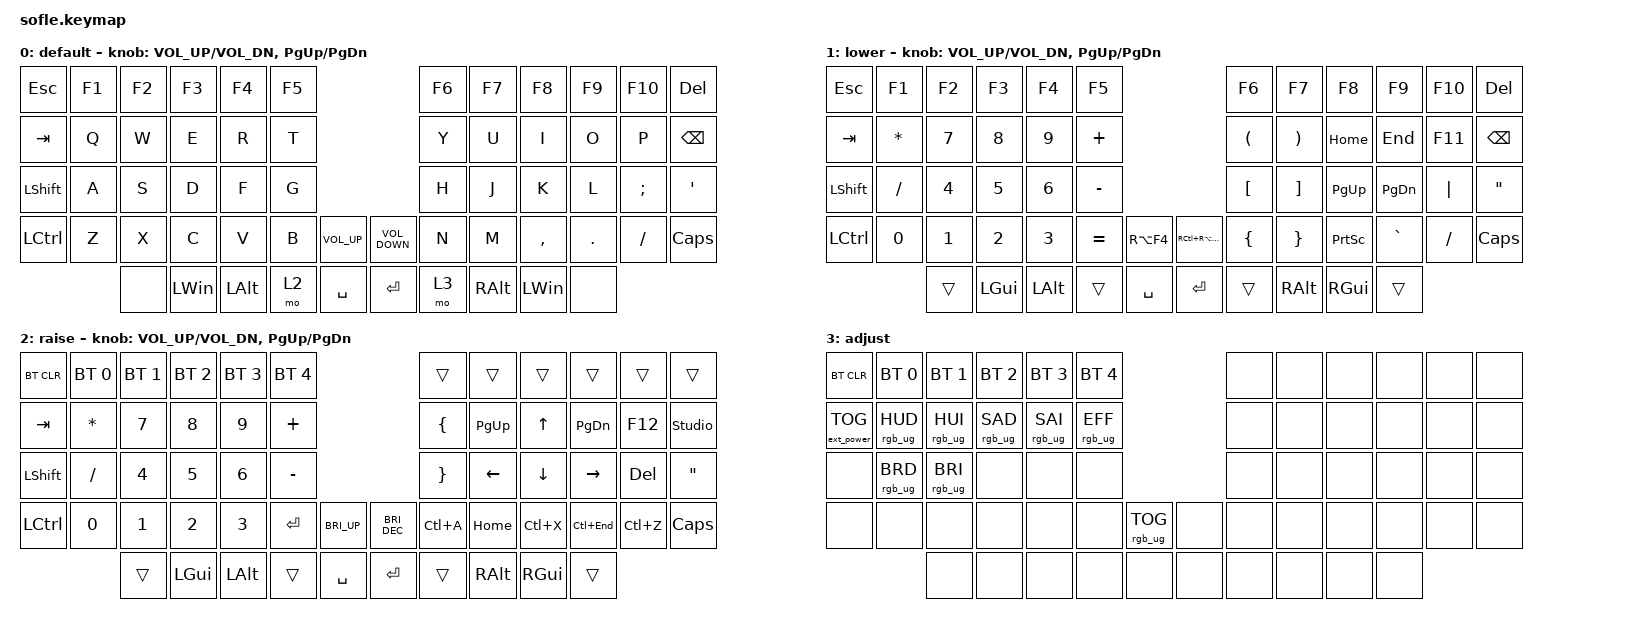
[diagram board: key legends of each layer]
/*
 * Copyright (c) 2020 The ZMK Contributors
 *
 * SPDX-License-Identifier: MIT
 */

#include <behaviors.dtsi>
#include <dt-bindings/zmk/bt.h>
#include <dt-bindings/zmk/ext_power.h>
#include <dt-bindings/zmk/keys.h>
#include <dt-bindings/zmk/rgb.h>

#define BASE 0
#define LOWER 1
#define RAISE 2
#define ADJUST 3

/ {
    // Activate ADJUST layer by pressing raise and lower

    conditional_layers {
        compatible = "zmk,conditional-layers";

        adjust_layer {
            if-layers = <2 3>;
            then-layer = <3>;
        };
    };

    keymap {
        compatible = "zmk,keymap";

        default_layer {
            label = "default";

            // ------------------------------------------------------------------------------------------------------------
            // |  ESC  |  F1 |  F2 |  F3  |  F4  |  F5  |                   |  F6  |  F7   |  F8   |  F9  |  F10  | DELETE|
            // |  TAB  |  Q  |  W  |  E   |  R   |  T   |                   |  Y   |  U    |  I    |  O   |   P   | BKSPC |
            // | SHIFT |  A  |  S  |  D   |  F   |  G   |                   |  H   |  J    |  K    |  L   |   ;   |   '   |
            // |  CTRL |  Z  |  X  |  C   |  V   |  B   |  MUTE  |  |       |  N   |  M    |  ,    |  .   |   /   | SHIFT |
            //               |     | GUI  | ALT  | LOWER|  SPACE |  | ENTER | RAISE|  ALT  | GUI   |      |

            bindings = <
&kp ESCAPE        &kp F1  &kp F2  &kp F3        &kp F4        &kp F5                                        &kp F6  &kp F7         &kp F8        &kp F9   &kp F10   &kp DELETE
&kp TAB           &kp Q   &kp W   &kp E         &kp R         &kp T                                         &kp Y   &kp U          &kp I         &kp O    &kp P     &kp BSPC
&kp LEFT_SHIFT    &kp A   &kp S   &kp D         &kp F         &kp G                                         &kp H   &kp J          &kp K         &kp L    &kp SEMI  &kp SQT
&kp LEFT_CONTROL  &kp Z   &kp X   &kp C         &kp V         &kp B   &kp C_VOLUME_UP    &kp C_VOLUME_DOWN  &kp N   &kp M          &kp COMMA     &kp DOT  &kp FSLH  &kp CAPS
                          &none   &kp LEFT_WIN  &kp LEFT_ALT  &mo 2   &kp SPACE          &kp ENTER          &mo 3   &kp RIGHT_ALT  &kp LEFT_WIN  &none
            >;

            sensor-bindings = <&inc_dec_kp C_VOL_UP C_VOL_DN &inc_dec_kp PG_UP PG_DN>;
        };

        lower_layer {
            label = "lower";

            // TODO: Some binds are waiting for shifted keycode support.
            // ------------------------------------------------------------------------------------------------------------
            // |       |  F1 |  F2 |  F3  |  F4  |  F5  |                   |  F6  |  F7   |  F8   |  F9  |  F10  |  F11  |
            // |   `   |  *  |  7  |  8   |  9   |  +   |                   |     |  7    |  8    |  9   |   0   |  F12  |
            // |       |  /  |  4  |  5   |  6   |  -   |                   |  ^   |  &    |  *    |  (   |   )   |   |   |
            // |       |  0  |  1  |  2   |  3   |  =   |        |  |       |  [   |  ]    |  ;    |  :   |   \   |       |
            //               |     | GUI  | ALT  | LOWER| SPACE  |  | ENTER | RAISE|  ALT  | GUI   |      |

            bindings = <
&kp ESCAPE        &kp F1        &kp F2        &kp F3        &kp F4        &kp F5                                       &kp F6                &kp F7                 &kp F8           &kp F9     &kp F10    &kp DEL
&kp TAB           &kp ASTERISK  &kp N7        &kp N8        &kp N9        &kp PLUS                                     &kp LEFT_PARENTHESIS  &kp RIGHT_PARENTHESIS  &kp HOME         &kp END    &kp F11    &kp BACKSPACE
&kp LEFT_SHIFT    &kp SLASH     &kp NUMBER_4  &kp N5        &kp NUMBER_6  &kp MINUS                                    &kp LEFT_BRACKET      &kp RIGHT_BRACKET      &kp PG_UP        &kp PG_DN  &kp PIPE   &kp DOUBLE_QUOTES
&kp LEFT_CONTROL  &kp N0        &kp N1        &kp NUMBER_2  &kp NUMBER_3  &kp EQUAL  &kp RA(F4)    &kp RC(RA(DELETE))  &kp LEFT_BRACE        &kp RIGHT_BRACE        &kp PRINTSCREEN  &kp GRAVE  &kp SLASH  &kp CAPSLOCK
                                &trans        &kp LEFT_GUI  &kp LEFT_ALT  &trans     &kp SPACE     &kp ENTER           &trans                &kp RIGHT_ALT          &kp RIGHT_GUI    &trans
            >;

            sensor-bindings = <&inc_dec_kp C_VOL_UP C_VOL_DN &inc_dec_kp PG_UP PG_DN>;
        };

        raise_layer {
            label = "raise";

            // ------------------------------------------------------------------------------------------------------------
            // | BTCLR | BT1  | BT2  |  BT3  |  BT4  |  BT5 |                |      |      |       |      |       |       |
            // |       | INS  | PSCR | GUI   |       |      |                | PGUP |      |   ^   |      |       |       |
            // |       | ALT  | CTRL | SHIFT |       | CAPS |                | PGDN |   <- |   v   |  ->  |  DEL  | BKSPC |
            // |       | UNDO | CUT  | COPY  | PASTE |      |      |  |      |      |      |       |      |       |       |
            //                |      |       |       |      |      |  |      |      |      |       |      |

            bindings = <
&bt BT_CLR        &bt BT_SEL 0  &bt BT_SEL 1  &bt BT_SEL 2  &bt BT_SEL 3  &bt BT_SEL 4                                        &trans           &trans         &trans         &trans         &trans     &trans
&kp TAB           &kp ASTERISK  &kp N7        &kp N8        &kp N9        &kp PLUS                                            &kp LEFT_BRACE   &kp PAGE_UP    &kp UP         &kp PAGE_DOWN  &kp F12    &studio_unlock
&kp LEFT_SHIFT    &kp SLASH     &kp NUMBER_4  &kp N5        &kp NUMBER_6  &kp MINUS                                           &kp RIGHT_BRACE  &kp LEFT       &kp DOWN       &kp RIGHT      &kp DEL    &kp DOUBLE_QUOTES
&kp LEFT_CONTROL  &kp N0        &kp N1        &kp NUMBER_2  &kp NUMBER_3  &kp ENTER     &kp C_BRI_UP    &kp C_BRIGHTNESS_DEC  &kp LC(A)        &kp HOME       &kp LC(X)      &kp LC(END)    &kp LC(Z)  &kp CAPSLOCK
                                &trans        &kp LEFT_GUI  &kp LEFT_ALT  &trans        &kp SPACE       &kp ENTER             &trans           &kp RIGHT_ALT  &kp RIGHT_GUI  &trans
            >;

            sensor-bindings = <&inc_dec_kp C_VOL_UP C_VOL_DN &inc_dec_kp PG_UP PG_DN>;
        };

        adjust_layer {
            // ----------------------------------------------------------------------------------------------------------------------------
            // | BTCLR  |  BT1    |  BT2    |   BT3   |   BT4   |   BT5   |                  |      |      |       |      |       |       |
            // | EXTPWR | RGB_HUD | RGB_HUI | RGB_SAD | RGB_SAI | RGB_EFF |                  |      |      |       |      |       |       |
            // |        | RGB_BRD | RGB_BRI |         |         |         |                  |      |      |       |      |       |       |
            // |        |         |         |         |         |         | RGB_TOG | |      |      |      |       |      |       |       |
            //                    |         |         |         |         |         | |      |      |      |       |      |

            label = "adjust";
            bindings = <
&bt BT_CLR         &bt BT_SEL 0     &bt BT_SEL 1     &bt BT_SEL 2     &bt BT_SEL 3     &bt BT_SEL 4                               &none  &none  &none  &none  &none  &none
&ext_power EP_TOG  &rgb_ug RGB_HUD  &rgb_ug RGB_HUI  &rgb_ug RGB_SAD  &rgb_ug RGB_SAI  &rgb_ug RGB_EFF                            &none  &none  &none  &none  &none  &none
&none              &rgb_ug RGB_BRD  &rgb_ug RGB_BRI  &none            &none            &none                                      &none  &none  &none  &none  &none  &none
&none              &none            &none            &none            &none            &none            &rgb_ug RGB_TOG    &none  &none  &none  &none  &none  &none  &none
                                    &none            &none            &none            &none            &none              &none  &none  &none  &none  &none
            >;
        };
    };
};
